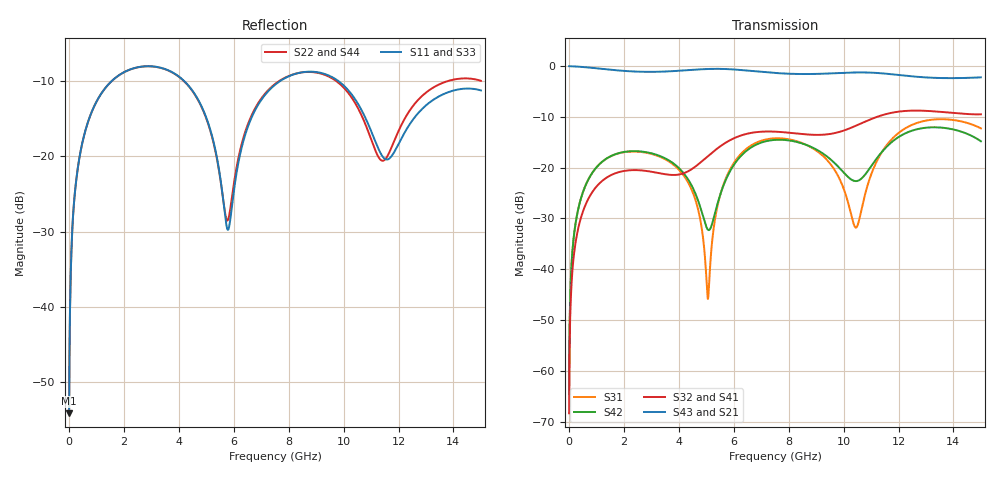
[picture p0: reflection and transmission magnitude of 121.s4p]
! Created with skrf 1.8.0 (http://scikit-rf.org).
# GHz S RI R 50.0
!freq ReS11 ImS11 ReS12 ImS12 ReS13 ImS13
! ReS14 ImS14
! ReS21 ImS21 ReS22 ImS22 ReS23 ImS23
! ReS24 ImS24
! ReS31 ImS31 ReS32 ImS32 ReS33 ImS33
! ReS34 ImS34
! ReS41 ImS41 ReS42 ImS42 ReS43 ImS43
! ReS44 ImS44
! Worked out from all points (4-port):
!   2499 points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, 5 MHz to 15 GHz, reference 50 ohm
!   strongest paths, dB at 5 MHz, 3.476 GHz, 7.19 GHz, 11.1 GHz, 15 GHz:
!     S43: 0.0, -1.1, -1.2, -1.3, -2.2
!     S21: 0.0, -1.1, -1.2, -1.3, -2.2
!     S32: -68.4, -21.3, -12.9, -10.2, -9.5
!     S41: -68.4, -21.3, -12.9, -10.2, -9.6
!     S42: -64.5, -18.1, -14.8, -19.0, -14.8
!     S31: -64.5, -18.3, -14.4, -20.1, -12.3
!   lowest |S11| = -54.1 dB at 5 MHz (marker M1), VSWR 1.00, Z = 50.2 + j0.119 ohm
!   |S11| at or under -10 dB: start of sweep to 1.546 GHz; 4.204 GHz to 7.675 GHz (3.471 GHz wide, 58.4 % of centre); 9.822 GHz to end of sweep
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0.005  0.00156 0.00119  0.9984 -0.00304  7.7e-05 0.000589  -7.5e-05 -0.000374
       0.9984 -0.00304  0.00156 0.00119  -7.5e-05 -0.000374  7.71e-05 0.000589
       7.7e-05 0.000589  -7.5e-05 -0.000374  0.00156 0.00119  0.9984 -0.00304
       -7.5e-05 -0.000374  7.71e-05 0.000589  0.9984 -0.00304  0.00156 0.00119
0.3126303  0.0221 0.0786  0.97 -0.1893  0.00955 0.0352  -0.00806 -0.0221
           0.97 -0.1893  0.022 0.0786  -0.00806 -0.0221  0.00968 0.0351
           0.00955 0.0352  -0.00806 -0.0221  0.0221 0.0786  0.97 -0.1893
           -0.00806 -0.0221  0.00968 0.0351  0.97 -0.1893  0.022 0.0786
1.469362  0.24 0.1901  0.6147 -0.6892  0.1088 0.0659  -0.0811 -0.0166
          0.6147 -0.6892  0.2396 0.1903  -0.0811 -0.0165  0.1105 0.064
          0.1088 0.0659  -0.0811 -0.0165  0.24 0.1901  0.6148 -0.6892
          -0.0811 -0.0166  0.1105 0.064  0.6148 -0.6892  0.2396 0.1903
5.052105  0.0894 -0.1451  -0.8342 -0.4249  -0.00465 -0.00219  -0.0554 0.1169
          -0.8342 -0.4249  0.0921 -0.1408  -0.0547 0.1173  -0.0218 -0.0115
          -0.00465 -0.00219  -0.0547 0.1173  0.0894 -0.1447  -0.8343 -0.4251
          -0.0554 0.1169  -0.0218 -0.0115  -0.8343 -0.4251  0.0917 -0.1406
6.146311  0.0537 0.0678  -0.908 0.15  0.0538 0.1136  0.047 0.1964
          -0.908 0.15  0.0604 0.0708  0.0482 0.1962  0.0341 0.1152
          0.0538 0.1136  0.0482 0.1962  0.0537 0.0675  -0.9081 0.1496
          0.047 0.1964  0.0341 0.1152  -0.9081 0.1496  0.0601 0.0709
8.991246  0.3619 -0.0436  0.0362 0.8355  0.1257 -0.0785  0.1993 -0.065
          0.0362 0.8355  0.3586 -0.048  0.1993 -0.0673  0.1214 -0.0911
          0.1257 -0.0785  0.1993 -0.0673  0.3586 -0.0423  0.0356 0.8368
          0.1993 -0.065  0.1214 -0.0911  0.0356 0.8368  0.3558 -0.0481
15  0.2673 -0.0643  -0.0254 -0.7745  0.1846 -0.1594  -0.3226 0.0821
    -0.0254 -0.7745  0.3013 -0.1035  -0.3231 0.0891  0.1691 -0.0668
    0.1846 -0.1594  -0.3231 0.0891  0.2669 -0.0569  -0.022 -0.7745
    -0.3226 0.0821  0.1691 -0.0668  -0.022 -0.7745  0.3028 -0.1071
